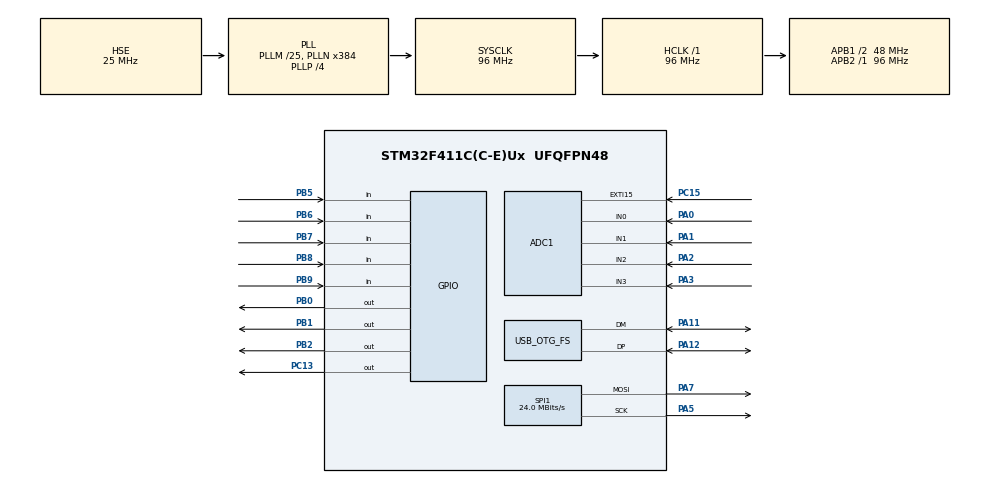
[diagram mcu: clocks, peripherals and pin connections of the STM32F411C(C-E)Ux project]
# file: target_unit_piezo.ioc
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ADC1.Channel-0\#ChannelRegularConversion=ADC_CHANNEL_0
ADC1.Channel-1\#ChannelRegularConversion=ADC_CHANNEL_1
ADC1.Channel-2\#ChannelRegularConversion=ADC_CHANNEL_2
ADC1.Channel-3\#ChannelRegularConversion=ADC_CHANNEL_3
ADC1.ContinuousConvMode=DISABLE
ADC1.DMAContinuousRequests=ENABLE
ADC1.DiscontinuousConvMode=ENABLE
ADC1.EOCSelection=ADC_EOC_SINGLE_CONV
ADC1.EnableAnalogWatchDog=true
ADC1.ExternalTrigConv=ADC_EXTERNALTRIGCONV_T2_TRGO
ADC1.HighThreshold=2048+THRESHOLD
ADC1.ITMode=ENABLE
ADC1.InjNumberOfConversion=0
ADC1.LowThreshold=2048-THRESHOLD
ADC1.NbrOfConversion=4
ADC1.NbrOfConversionFlag=1
ADC1.Rank-0\#ChannelRegularConversion=1
ADC1.Rank-1\#ChannelRegularConversion=2
ADC1.Rank-2\#ChannelRegularConversion=3
ADC1.Rank-3\#ChannelRegularConversion=4
ADC1.SamplingTime-0\#ChannelRegularConversion=ADC_SAMPLETIME_3CYCLES
ADC1.SamplingTime-1\#ChannelRegularConversion=ADC_SAMPLETIME_3CYCLES
ADC1.SamplingTime-2\#ChannelRegularConversion=ADC_SAMPLETIME_3CYCLES
ADC1.SamplingTime-3\#ChannelRegularConversion=ADC_SAMPLETIME_3CYCLES
ADC1.WatchdogMode=ADC_ANALOGWATCHDOG_ALL_REG
ADC1.master=1
Dma.ADC1.0.Direction=DMA_PERIPH_TO_MEMORY
Dma.ADC1.0.FIFOMode=DMA_FIFOMODE_DISABLE
Dma.ADC1.0.Instance=DMA2_Stream0
Dma.ADC1.0.MemDataAlignment=DMA_MDATAALIGN_HALFWORD
Dma.ADC1.0.MemInc=DMA_MINC_ENABLE
Dma.ADC1.0.Mode=DMA_CIRCULAR
Dma.ADC1.0.PeriphDataAlignment=DMA_PDATAALIGN_HALFWORD
Dma.ADC1.0.PeriphInc=DMA_PINC_DISABLE
Dma.ADC1.0.Priority=DMA_PRIORITY_VERY_HIGH
Dma.Request0=ADC1
Mcu.Family=STM32F4
Mcu.Name=STM32F411C(C-E)Ux
Mcu.Package=UFQFPN48
NVIC.ADC_IRQn=true\:0\:0\:false\:false\:true\:true\:true\:true
NVIC.DMA2_Stream0_IRQn=true\:0\:0\:false\:false\:true\:false\:true\:true
NVIC.OTG_FS_IRQn=true\:0\:0\:false\:false\:true\:false\:true\:true
NVIC.PriorityGroup=NVIC_PRIORITYGROUP_4
NVIC.TIM3_IRQn=true\:0\:0\:false\:false\:true\:true\:true\:true
PA0-WKUP.Signal=ADCx_IN0
PA1.Signal=ADCx_IN1
PA11.Mode=Device_Only
PA11.Signal=USB_OTG_FS_DM
PA12.Mode=Device_Only
PA12.Signal=USB_OTG_FS_DP
PA2.Signal=ADCx_IN2
PA3.Signal=ADCx_IN3
PA5.GPIO_PuPd=GPIO_PULLDOWN
PA5.Mode=TX_Only_Simplex_Unidirect_Master
PA5.Signal=SPI1_SCK
PA7.GPIO_PuPd=GPIO_NOPULL
PA7.Mode=TX_Only_Simplex_Unidirect_Master
PA7.Signal=SPI1_MOSI
PB0.GPIO_PuPd=GPIO_PULLUP
PB0.GPIO_Speed=GPIO_SPEED_FREQ_VERY_HIGH
PB0.PinState=GPIO_PIN_SET
PB0.Signal=GPIO_Output
PB1.GPIO_PuPd=GPIO_PULLUP
PB1.GPIO_Speed=GPIO_SPEED_FREQ_VERY_HIGH
PB1.PinState=GPIO_PIN_SET
PB1.Signal=GPIO_Output
PB2.GPIO_PuPd=GPIO_PULLUP
PB2.GPIO_Speed=GPIO_SPEED_FREQ_VERY_HIGH
PB2.PinState=GPIO_PIN_SET
PB2.Signal=GPIO_Output
PB5.Signal=GPIO_Input
PB6.Signal=GPIO_Input
PB7.Signal=GPIO_Input
PB8.Signal=GPIO_Input
PB9.Signal=GPIO_Input
PC13-ANTI_TAMP.Signal=GPIO_Output
PC15-OSC32_OUT.Signal=GPXTI15
PH0\ -\ OSC_IN.Mode=HSE-External-Oscillator
PH0\ -\ OSC_IN.Signal=RCC_OSC_IN
PH1\ -\ OSC_OUT.Mode=HSE-External-Oscillator
PH1\ -\ OSC_OUT.Signal=RCC_OSC_OUT
ProjectManager.HeapSize=0x200
ProjectManager.StackSize=0x400
ProjectManager.TargetToolchain=STM32CubeIDE
RCC.48MHZClocksFreq_Value=48000000
RCC.AHBFreq_Value=96000000
RCC.APB1CLKDivider=RCC_HCLK_DIV2
RCC.APB1Freq_Value=48000000
RCC.APB1TimFreq_Value=96000000
RCC.APB2Freq_Value=96000000
RCC.APB2TimFreq_Value=96000000
RCC.CortexFreq_Value=96000000
RCC.HCLKFreq_Value=96000000
RCC.HSE_VALUE=25000000
RCC.HSI_VALUE=16000000
RCC.LSE_VALUE=32768
RCC.PLLI2SM=25
RCC.PLLM=25
RCC.PLLN=384
RCC.PLLP=RCC_PLLP_DIV4
RCC.PLLQ=8
RCC.RCC_RTC_Clock_Source=RCC_RTCCLKSOURCE_LSI
RCC.RCC_RTC_Clock_SourceVirtual=RCC_RTCCLKSOURCE_LSI
RCC.SYSCLKFreq_VALUE=96000000
RCC.SYSCLKSource=RCC_SYSCLKSOURCE_PLLCLK
RCC.VCOOutputFreq_Value=384000000
SH.ADCx_IN0.0=ADC1_IN0,IN0
SH.ADCx_IN1.0=ADC1_IN1,IN1
SH.ADCx_IN2.0=ADC1_IN2,IN2
SH.ADCx_IN3.0=ADC1_IN3,IN3
SPI1.BaudRatePrescaler=SPI_BAUDRATEPRESCALER_4
SPI1.CLKPolarity=SPI_POLARITY_LOW
SPI1.CalculateBaudRate=24.0 MBits/s
SPI1.Direction=SPI_DIRECTION_2LINES
SPI1.Mode=SPI_MODE_MASTER
SPI1.VirtualType=VM_MASTER
TIM2.Channel-Output\ Compare1\ No\ Output=TIM_CHANNEL_1
TIM2.Period=SAMPLE_PERIOD-1
TIM2.TIM_MasterOutputTrigger=TIM_TRGO_UPDATE
TIM3.Period=SAMPLE_N/2
TIM3.Prescaler=SAMPLE_PERIOD-1
TIM3.TIM_MasterOutputTrigger=TIM_TRGO_UPDATE
TIM3.TIM_MasterSlaveMode=TIM_MASTERSLAVEMODE_DISABLE
TIM5.Prescaler=95
USB_DEVICE.CLASS_NAME_FS=CDC
USB_DEVICE.VirtualMode=Cdc
USB_DEVICE.VirtualModeFS=Cdc_FS
USB_OTG_FS.VirtualMode=Device_Only
VP_TIM2_VS_ClockSourceINT.Mode=Internal
VP_TIM2_VS_no_output1.Mode=Output Compare1 No Output
VP_TIM3_VS_ClockSourceINT.Mode=Internal
VP_TIM5_VS_ClockSourceINT.Mode=Internal
VP_USB_DEVICE_VS_USB_DEVICE_CDC_FS.Mode=CDC_FS
board=custom

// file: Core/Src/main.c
/* USER CODE BEGIN Header */
/**
  ******************************************************************************
  * @file           : main.c
  * @brief          : Main program body
  ******************************************************************************
  * @attention
  *
  * Copyright (c) 2023 STMicroelectronics.
  * All rights reserved.
  *
  * This software is licensed under terms that can be found in the LICENSE file
  * in the root directory of this software component.
  * If no LICENSE file comes with this software, it is provided AS-IS.
  *
  ******************************************************************************
  */
/* USER CODE END Header */
#include "main.h"
#include "usb_device.h"

/* USER CODE BEGIN Includes */
#define ADC4_SAMPLINGTIME_COMMON_1 LL_ADC_SAMPLINGTIME_COMMON_1
#define ADC4_SAMPLINGTIME_COMMON_2 LL_ADC_SAMPLINGTIME_COMMON_2
#define ADC4_SAMPLINGTIME_COMMON_1 LL_ADC_SAMPLINGTIME_COMMON_1
#define ADC4_SAMPLINGTIME_COMMON_2 LL_ADC_SAMPLINGTIME_COMMON_2
//#include "ssd1306.h"
#include "usbd_cdc_if.h"
#include "string.h"
#include "envelope_xcorr_gen.h"
#include "envelope_xcorr_gen_terminate.h"
#include "rt_nonfinite.h"
#include "ui.h"
#include "st7789.h"
#include <math.h>
#include <complex.h>								//it has to be done...
/* USER CODE END Includes */

/* USER CODE BEGIN PD */

//#define TEST_VER

#define THRESHOLD 400
#define SAMPLE_N 1024
#define SAMPLE_PERIOD 60
#define RESULT_BUFFER_LEN 100
#define RESULT_BUFFER_SEGMENT 10

#define B_UP 1
#define B_DOWN 2
#define B_LEFT 3
#define B_RIGHT 4
#define B_MIDDLE 5
//#define H_RANGE 2200
//#define L_RANGE 1800
/* USER CODE END PD */

ADC_HandleTypeDef hadc1;
DMA_HandleTypeDef hdma_adc1;

SPI_HandleTypeDef hspi1;

TIM_HandleTypeDef htim2;
TIM_HandleTypeDef htim3;
TIM_HandleTypeDef htim5;

/* USER CODE BEGIN PV */
uint32_t status=0,pos,pos_debug,tik,tok,startup=0;
uint32_t state = 0,tmp = 0;
uint32_t debug = 0, debug1 = 0;
char text_buffer[64];
float s1[SAMPLE_N/4],s2[SAMPLE_N/4];
float hit[2] = {0};
double delta1 = 0, delta2 = 0;
uint16_t data[8];
uint16_t data1[SAMPLE_N];		// ADC output buffer
//result variables
uint8_t score_res[RESULT_BUFFER_LEN+10] = {0},res_pos = 0,part_res = 0;
float results_x[RESULT_BUFFER_LEN+10] = {0},results_y[RESULT_BUFFER_LEN+10] = {0};

struct settings
{
	float offsetx, offsety, speedx, speedy;
	uint8_t debug, start, normalize;

};

struct settings set = {-0.0024,-0.00225,1005,994,0,0,0};
;
target_def tg1 = {20,20,10};

extern float ts1[];
extern float ts2[];

/* USER CODE END PV */

void SystemClock_Config(void);
static void MX_GPIO_Init(void);
static void MX_DMA_Init(void);
static void MX_ADC1_Init(void);
static void MX_TIM2_Init(void);
static void MX_TIM3_Init(void);
static void MX_SPI1_Init(void);
static void MX_TIM5_Init(void);
/* USER CODE BEGIN PFP */
void print_array(uint16_t *arr1,uint16_t size,uint32_t start_pos, uint8_t type);
void Reset_ADC();
void AWD_Interrupt();
void TIM3_interrupt();
void Read_channel(uint16_t *source, float *target, uint32_t source_size, uint32_t target_size, uint32_t start_pos, uint32_t channel);
uint8_t ConvertCoordinates(float* coords, float diffx, float diffy, float speed, float xoffset, float yoffset, float target_size);
void Abs_maxScale(float* target, uint32_t size, uint32_t new_max);
void Offset_remove(float* target, uint32_t size);
uint8_t Check_buttons();
void Debug_screen();
uint8_t Convert_to_score(float hitx, float hity, float proj_diammeter, target_def tg);
void Draw_All();
/* USER CODE END PFP */

int main(void)
{

  /* MCU Configuration--------------------------------------------------------*/

  /* Reset of all peripherals, Initializes the Flash interface and the Systick. */
  HAL_Init();

  /* Configure the system clock */
  SystemClock_Config();

  /* Initialize all configured peripherals */
  MX_GPIO_Init();
  MX_DMA_Init();
  MX_USB_DEVICE_Init();
  MX_ADC1_Init();
  MX_TIM2_Init();
  MX_TIM3_Init();
  MX_SPI1_Init();
  MX_TIM5_Init();
  /* USER CODE BEGIN 2 */
  ST7789_Init();
  ST7789_InvertColors(0);
  HAL_ADC_Start_DMA(&hadc1, &data1, SAMPLE_N);
  HAL_TIM_Base_Start(&htim5);
  ADC1->CR1 &= ~ADC_CR1_AWDEN;
  ADC1->CR1 &= ~ADC_CR1_AWDIE;

  HAL_TIM_Base_Start(&htim2);
  HAL_Delay(500);
  ADC1->SR &= ~ADC_SR_AWD;
  ADC1->CR1 |= ADC_CR1_AWDEN;
  ADC1->CR1 |= ADC_CR1_AWDIE;
  TIM3->CR1 &= ~TIM_CR1_CEN;

  TIM3->DIER |= TIM_DIER_UIE;
  GPIOC->ODR |= GPIO_ODR_OD13;

/*
  for(int i = 0; i < 25; i++)
  {
	  res_pos++;
	  score_res[i] = i;
  }
*/
  if(set.debug == 0)
  {
	  Draw_All();
  }
  /* USER CODE END 2 */

  /* Infinite loop */
  while (1)
  {

    /* USER CODE BEGIN 3 */

	  //sprintf(text_buffer,"channel 1: %04d",data1[0]);
	  //ST7789_WriteString(10, 50, text_buffer, Font_7x10, RED, BLACK);
	  //ST7789_Test();
#ifdef TEST_VER

	  tik = TIM5->CNT;
	  float delta = envelope_xcorr_gen(ts1, ts2, SAMPLE_N/4, 400000, 4, 200, 400);
	  tok = TIM5->CNT;
	  ConvertCoordinates(hit, delta/2, delta/2, 994, -0.003749, 0, 0.385);
	  //Draw_targetElement(10, 20, 200, WHITE,RED, BLACK,1,hit[0]/0.15,hit[1]/0.15);
	  Draw_def_targetElement(10, 20, 200,  WHITE,RED, BLACK, tg1);
	  Draw_hit(10, 20, 200, WHITE ,RED, 100, 50, tg1);
	  sprintf(text_buffer,"delta: %.2f us",delta*1000000);
	  ST7789_WriteString(200, 20, text_buffer, Font_7x10, WHITE, BLACK);
	  sprintf(text_buffer,"time: %04ld us",tok-tik);
	  ST7789_WriteString(200, 30, text_buffer, Font_7x10, WHITE, BLACK);
	  sprintf(text_buffer,"x=: %3.1f mm",hit[0]*1000);
	  ST7789_WriteString(200, 40, text_buffer, Font_7x10, WHITE, BLACK);
	  sprintf(text_buffer,"y=: %3.1f mm",hit[1]*100);
	  ST7789_WriteString(200, 50, text_buffer, Font_7x10, WHITE, BLACK);
	  HAL_Delay(2000);

#endif

#ifndef TEST_VER
	  switch(state)
	  {
	  	  case 1:							//aktivace TIM3 interruptu
	  		HAL_GPIO_WritePin(GPIOC, GPIO_PIN_13, GPIO_PIN_RESET);
	  		HAL_Delay(500);
	  		HAL_GPIO_WritePin(GPIOC, GPIO_PIN_13, GPIO_PIN_SET);
	  		HAL_Delay(500);
	  		HAL_GPIO_WritePin(GPIOC, GPIO_PIN_13, GPIO_PIN_RESET);
	  		tik = TIM5->CNT;
	  		Read_channel((uint16_t*) data1, s1, SAMPLE_N, SAMPLE_N/4, ((pos-pos%4)-SAMPLE_N/8)%SAMPLE_N, 0);
	  		Read_channel((uint16_t*) data1, s2, SAMPLE_N, SAMPLE_N/4, ((pos-pos%4)-SAMPLE_N/8)%SAMPLE_N, 1);
	  		if(set.normalize)
	  		{
	  			Offset_remove(s1, SAMPLE_N/4);
	  			Offset_remove(s2, SAMPLE_N/4);
	  			Abs_maxScale(s1, SAMPLE_N/4, 2000);
	  			Abs_maxScale(s2, SAMPLE_N/4, 2000);
	  		}
	  		delta1 = envelope_xcorr_gen(s1, s2, SAMPLE_N/4, 400000, 4, 200, 400);
	  		Read_channel((uint16_t*) data1, s1, SAMPLE_N, SAMPLE_N/4, ((pos-pos%4)-SAMPLE_N/8)%SAMPLE_N, 2);
	  		Read_channel((uint16_t*) data1, s2, SAMPLE_N, SAMPLE_N/4, ((pos-pos%4)-SAMPLE_N/8)%SAMPLE_N, 3);
	  		if(set.normalize)
	  		{
	  			Offset_remove(s1, SAMPLE_N/4);
	  			Offset_remove(s2, SAMPLE_N/4);
	  			Abs_maxScale(s1, SAMPLE_N/4, 2000);
	  			Abs_maxScale(s2, SAMPLE_N/4, 2000);
	  		}
	  		delta2 = envelope_xcorr_gen(s1, s2, SAMPLE_N/4, 400000, 4, 200, 400);
	  		tok = TIM5->CNT;
	  		tmp = ConvertCoordinates(hit, delta1, delta2, set.speedx, set.offsetx,set. offsety, 0.385);
	  		if(tmp == 1)
	  		{
	  			HAL_GPIO_WritePin(GPIOC, GPIO_PIN_13, GPIO_PIN_RESET);
	  			HAL_Delay(2000);
	  			Reset_ADC();
	  			HAL_GPIO_WritePin(GPIOC, GPIO_PIN_13, GPIO_PIN_SET);
	  			TIM2->CR1 |= TIM_CR1_CEN;
	  			state = 0;
	  			break;
	  		}
	  		results_x[res_pos] = hit[0];
	  		results_y[res_pos] = hit[1];
	  		score_res[res_pos] = Convert_to_score(hit[0], hit[1], 3, tg1);

	  		if(res_pos < part_res*RESULT_BUFFER_SEGMENT || res_pos > (part_res+1)*RESULT_BUFFER_SEGMENT)
	  		{
	  			part_res = res_pos/RESULT_BUFFER_SEGMENT;
	  		}
	  		if(res_pos >= RESULT_BUFFER_LEN)
	  		{
	  			for(int i = 0; i<RESULT_BUFFER_LEN;i++)
	  			{
	  				results_x[i] = 0;
	  				results_x[i] = 0;
	  				score_res[i] = 0;
	  				part_res = 0;

	  			}
	  		}
	  		//Draw_targetElement(10, 20, 200, WHITE,RED, BLACK,1,hit[0]/0.15,hit[1]/0.15);
	  		Draw_def_targetElement(10, 20, 200,  WHITE,RED, BLACK, tg1);
	  		res_pos++;
	  		if(set.debug)
	  		{
	  			Debug_screen();
			}
	  		else
			{
	  			Draw_All();
			}

	  		HAL_GPIO_WritePin(GPIOC, GPIO_PIN_13, GPIO_PIN_RESET);
	  		HAL_Delay(1000);
	  		Reset_ADC();
	  		HAL_GPIO_WritePin(GPIOC, GPIO_PIN_13, GPIO_PIN_SET);
	  		TIM2->CR1 |= TIM_CR1_CEN;												//Timer 2 enabled, sampling continues
	  		state = 0;
	  	  default:
	  		  break;
	  }
	  if(Check_buttons()==B_UP)
	  {
		  part_res=(part_res+1);
		  if(part_res > 10){part_res = 0;}
		  Draw_All();
	  }
	  if(Check_buttons()==B_DOWN)
	  {
		  part_res=(part_res-1);
		  if(part_res > 10){part_res = 10;}
		  Draw_All();
	  }
#endif

	  /*
	  if(GPIOB->IDR & 0b1)
	  {
		  tmp = 1;
		  TIM2->CR1 &= !TIM_CR1_CEN;				//Timer2 enable bit set to zero.Timer 2 is disabled.
		  print_array(&data1, SAMPLE_N,0);
		  HAL_Delay(10000);
	  }else{
		  tmp = 0;
		  TIM2->CR1 |= TIM_CR1_CEN;					//Timer 2 enable bit set to one.Timer 2 is enabled.
	  }

	  debug[pos_debug%50] = DMA2_Stream0->NDTR;
	  pos_debug++;
	  */

	  /*alternative if statement
	  data1[DMA2_Stream0->NDTR] > H_RANGE || data1[DMA2_Stream0->NDTR] < L_RANGE || GPIOB->IDR & 0b1

	   */

	  // following code should be handled mostly in interrupts and is unusable for higher ADC speeds
	  /*
	  }
		*/

  }
  /* USER CODE END 3 */
}

void SystemClock_Config(void)
{
  RCC_OscInitTypeDef RCC_OscInitStruct = {0};
  RCC_ClkInitTypeDef RCC_ClkInitStruct = {0};

  /** Configure the main internal regulator output voltage
  */
  __HAL_RCC_PWR_CLK_ENABLE();
  __HAL_PWR_VOLTAGESCALING_CONFIG(PWR_REGULATOR_VOLTAGE_SCALE1);

  /** Initializes the RCC Oscillators according to the specified parameters
  * in the RCC_OscInitTypeDef structure.
  */
  RCC_OscInitStruct.OscillatorType = RCC_OSCILLATORTYPE_HSE;
  RCC_OscInitStruct.HSEState = RCC_HSE_ON;
  RCC_OscInitStruct.PLL.PLLState = RCC_PLL_ON;
  RCC_OscInitStruct.PLL.PLLSource = RCC_PLLSOURCE_HSE;
  RCC_OscInitStruct.PLL.PLLM = 25;
  RCC_OscInitStruct.PLL.PLLN = 384;
  RCC_OscInitStruct.PLL.PLLP = RCC_PLLP_DIV4;
  RCC_OscInitStruct.PLL.PLLQ = 8;
  if (HAL_RCC_OscConfig(&RCC_OscInitStruct) != HAL_OK)
  {
    Error_Handler();
  }

  /** Initializes the CPU, AHB and APB buses clocks
  */
  RCC_ClkInitStruct.ClockType = RCC_CLOCKTYPE_HCLK|RCC_CLOCKTYPE_SYSCLK
                              |RCC_CLOCKTYPE_PCLK1|RCC_CLOCKTYPE_PCLK2;
  RCC_ClkInitStruct.SYSCLKSource = RCC_SYSCLKSOURCE_PLLCLK;
  RCC_ClkInitStruct.AHBCLKDivider = RCC_SYSCLK_DIV1;
  RCC_ClkInitStruct.APB1CLKDivider = RCC_HCLK_DIV2;
  RCC_ClkInitStruct.APB2CLKDivider = RCC_HCLK_DIV1;

  if (HAL_RCC_ClockConfig(&RCC_ClkInitStruct, FLASH_LATENCY_3) != HAL_OK)
  {
    Error_Handler();
  }
}

static void MX_ADC1_Init(void)
{

  ADC_AnalogWDGConfTypeDef AnalogWDGConfig = {0};
  ADC_ChannelConfTypeDef sConfig = {0};

  /** Configure the global features of the ADC (Clock, Resolution, Data Alignment and number of conversion)
  */
  hadc1.Instance = ADC1;
  hadc1.Init.ClockPrescaler = ADC_CLOCK_SYNC_PCLK_DIV4;
  hadc1.Init.Resolution = ADC_RESOLUTION_12B;
  hadc1.Init.ScanConvMode = ENABLE;
  hadc1.Init.ContinuousConvMode = DISABLE;
  hadc1.Init.DiscontinuousConvMode = ENABLE;
  hadc1.Init.NbrOfDiscConversion = 1;
  hadc1.Init.ExternalTrigConvEdge = ADC_EXTERNALTRIGCONVEDGE_RISING;
  hadc1.Init.ExternalTrigConv = ADC_EXTERNALTRIGCONV_T2_TRGO;
  hadc1.Init.DataAlign = ADC_DATAALIGN_RIGHT;
  hadc1.Init.NbrOfConversion = 4;
  hadc1.Init.DMAContinuousRequests = ENABLE;
  hadc1.Init.EOCSelection = ADC_EOC_SINGLE_CONV;
  if (HAL_ADC_Init(&hadc1) != HAL_OK)
  {
    Error_Handler();
  }

  /** Configure the analog watchdog
  */
  AnalogWDGConfig.WatchdogMode = ADC_ANALOGWATCHDOG_ALL_REG;
  AnalogWDGConfig.HighThreshold = 2048+THRESHOLD;
  AnalogWDGConfig.LowThreshold = 2048-THRESHOLD;
  AnalogWDGConfig.ITMode = ENABLE;
  if (HAL_ADC_AnalogWDGConfig(&hadc1, &AnalogWDGConfig) != HAL_OK)
  {
    Error_Handler();
  }

  /** Configure for the selected ADC regular channel its corresponding rank in the sequencer and its sample time.
  */
  sConfig.Channel = ADC_CHANNEL_0;
  sConfig.Rank = 1;
  sConfig.SamplingTime = ADC_SAMPLETIME_3CYCLES;
  if (HAL_ADC_ConfigChannel(&hadc1, &sConfig) != HAL_OK)
  {
    Error_Handler();
  }

  /** Configure for the selected ADC regular channel its corresponding rank in the sequencer and its sample time.
  */
  sConfig.Channel = ADC_CHANNEL_1;
  sConfig.Rank = 2;
  if (HAL_ADC_ConfigChannel(&hadc1, &sConfig) != HAL_OK)
  {
    Error_Handler();
  }

  /** Configure for the selected ADC regular channel its corresponding rank in the sequencer and its sample time.
  */
  sConfig.Channel = ADC_CHANNEL_2;
  sConfig.Rank = 3;
  if (HAL_ADC_ConfigChannel(&hadc1, &sConfig) != HAL_OK)
  {
    Error_Handler();
  }

  /** Configure for the selected ADC regular channel its corresponding rank in the sequencer and its sample time.
  */
  sConfig.Channel = ADC_CHANNEL_3;
  sConfig.Rank = 4;
  if (HAL_ADC_ConfigChannel(&hadc1, &sConfig) != HAL_OK)
  {
    Error_Handler();
  }

}

static void MX_SPI1_Init(void)
{

  /* SPI1 parameter configuration*/
  hspi1.Instance = SPI1;
  hspi1.Init.Mode = SPI_MODE_MASTER;
  hspi1.Init.Direction = SPI_DIRECTION_2LINES;
  hspi1.Init.DataSize = SPI_DATASIZE_8BIT;
  hspi1.Init.CLKPolarity = SPI_POLARITY_LOW;
  hspi1.Init.CLKPhase = SPI_PHASE_1EDGE;
  hspi1.Init.NSS = SPI_NSS_SOFT;
  hspi1.Init.BaudRatePrescaler = SPI_BAUDRATEPRESCALER_4;
  hspi1.Init.FirstBit = SPI_FIRSTBIT_MSB;
  hspi1.Init.TIMode = SPI_TIMODE_DISABLE;
  hspi1.Init.CRCCalculation = SPI_CRCCALCULATION_DISABLE;
  hspi1.Init.CRCPolynomial = 10;
  if (HAL_SPI_Init(&hspi1) != HAL_OK)
  {
    Error_Handler();
  }

}

static void MX_TIM2_Init(void)
{

  TIM_ClockConfigTypeDef sClockSourceConfig = {0};
  TIM_MasterConfigTypeDef sMasterConfig = {0};
  TIM_OC_InitTypeDef sConfigOC = {0};

  htim2.Instance = TIM2;
  htim2.Init.Prescaler = 0;
  htim2.Init.CounterMode = TIM_COUNTERMODE_UP;
  htim2.Init.Period = SAMPLE_PERIOD-1;
  htim2.Init.ClockDivision = TIM_CLOCKDIVISION_DIV1;
  htim2.Init.AutoReloadPreload = TIM_AUTORELOAD_PRELOAD_DISABLE;
  if (HAL_TIM_Base_Init(&htim2) != HAL_OK)
  {
    Error_Handler();
  }
  sClockSourceConfig.ClockSource = TIM_CLOCKSOURCE_INTERNAL;
  if (HAL_TIM_ConfigClockSource(&htim2, &sClockSourceConfig) != HAL_OK)
  {
    Error_Handler();
  }
  if (HAL_TIM_OC_Init(&htim2) != HAL_OK)
  {
    Error_Handler();
  }
  sMasterConfig.MasterOutputTrigger = TIM_TRGO_UPDATE;
  sMasterConfig.MasterSlaveMode = TIM_MASTERSLAVEMODE_DISABLE;
  if (HAL_TIMEx_MasterConfigSynchronization(&htim2, &sMasterConfig) != HAL_OK)
  {
    Error_Handler();
  }
  sConfigOC.OCMode = TIM_OCMODE_TIMING;
  sConfigOC.Pulse = 0;
  sConfigOC.OCPolarity = TIM_OCPOLARITY_HIGH;
  sConfigOC.OCFastMode = TIM_OCFAST_DISABLE;
  if (HAL_TIM_OC_ConfigChannel(&htim2, &sConfigOC, TIM_CHANNEL_1) != HAL_OK)
  {
    Error_Handler();
  }

}

static void MX_TIM3_Init(void)
{

  TIM_ClockConfigTypeDef sClockSourceConfig = {0};
  TIM_MasterConfigTypeDef sMasterConfig = {0};

  htim3.Instance = TIM3;
  htim3.Init.Prescaler = SAMPLE_PERIOD-1;
  htim3.Init.CounterMode = TIM_COUNTERMODE_UP;
  htim3.Init.Period = SAMPLE_N/2;
  htim3.Init.ClockDivision = TIM_CLOCKDIVISION_DIV1;
  htim3.Init.AutoReloadPreload = TIM_AUTORELOAD_PRELOAD_DISABLE;
  if (HAL_TIM_Base_Init(&htim3) != HAL_OK)
  {
    Error_Handler();
  }
  sClockSourceConfig.ClockSource = TIM_CLOCKSOURCE_INTERNAL;
  if (HAL_TIM_ConfigClockSource(&htim3, &sClockSourceConfig) != HAL_OK)
  {
    Error_Handler();
  }
  sMasterConfig.MasterOutputTrigger = TIM_TRGO_UPDATE;
  sMasterConfig.MasterSlaveMode = TIM_MASTERSLAVEMODE_DISABLE;
  if (HAL_TIMEx_MasterConfigSynchronization(&htim3, &sMasterConfig) != HAL_OK)
  {
    Error_Handler();
  }

}

static void MX_TIM5_Init(void)
{

  TIM_ClockConfigTypeDef sClockSourceConfig = {0};
  TIM_MasterConfigTypeDef sMasterConfig = {0};

  htim5.Instance = TIM5;
  htim5.Init.Prescaler = 95;
  htim5.Init.CounterMode = TIM_COUNTERMODE_UP;
  htim5.Init.Period = 4294967295;
  htim5.Init.ClockDivision = TIM_CLOCKDIVISION_DIV1;
  htim5.Init.AutoReloadPreload = TIM_AUTORELOAD_PRELOAD_DISABLE;
  if (HAL_TIM_Base_Init(&htim5) != HAL_OK)
  {
    Error_Handler();
  }
  sClockSourceConfig.ClockSource = TIM_CLOCKSOURCE_INTERNAL;
  if (HAL_TIM_ConfigClockSource(&htim5, &sClockSourceConfig) != HAL_OK)
  {
    Error_Handler();
  }
  sMasterConfig.MasterOutputTrigger = TIM_TRGO_RESET;
  sMasterConfig.MasterSlaveMode = TIM_MASTERSLAVEMODE_DISABLE;
  if (HAL_TIMEx_MasterConfigSynchronization(&htim5, &sMasterConfig) != HAL_OK)
  {
    Error_Handler();
  }

}

static void MX_DMA_Init(void)
{

  /* DMA controller clock enable */
  __HAL_RCC_DMA2_CLK_ENABLE();

  /* DMA interrupt init */
  /* DMA2_Stream0_IRQn interrupt configuration */
  HAL_NVIC_SetPriority(DMA2_Stream0_IRQn, 0, 0);
  HAL_NVIC_EnableIRQ(DMA2_Stream0_IRQn);

}

static void MX_GPIO_Init(void)
{
  GPIO_InitTypeDef GPIO_InitStruct = {0};

  /* GPIO Ports Clock Enable */
  __HAL_RCC_GPIOC_CLK_ENABLE();
  __HAL_RCC_GPIOH_CLK_ENABLE();
  __HAL_RCC_GPIOA_CLK_ENABLE();
  __HAL_RCC_GPIOB_CLK_ENABLE();

  /*Configure GPIO pin Output Level */
  HAL_GPIO_WritePin(GPIOC, GPIO_PIN_13, GPIO_PIN_RESET);

  /*Configure GPIO pin Output Level */
  HAL_GPIO_WritePin(GPIOB, GPIO_PIN_0|GPIO_PIN_1|GPIO_PIN_2, GPIO_PIN_SET);

  /*Configure GPIO pin : PC13 */
  GPIO_InitStruct.Pin = GPIO_PIN_13;
  GPIO_InitStruct.Mode = GPIO_MODE_OUTPUT_PP;
  GPIO_InitStruct.Pull = GPIO_NOPULL;
  GPIO_InitStruct.Speed = GPIO_SPEED_FREQ_LOW;
  HAL_GPIO_Init(GPIOC, &GPIO_InitStruct);

  /*Configure GPIO pin : PC15 */
  GPIO_InitStruct.Pin = GPIO_PIN_15;
  GPIO_InitStruct.Mode = GPIO_MODE_IT_RISING;
  GPIO_InitStruct.Pull = GPIO_NOPULL;
  HAL_GPIO_Init(GPIOC, &GPIO_InitStruct);

  /*Configure GPIO pins : PB0 PB1 PB2 */
  GPIO_InitStruct.Pin = GPIO_PIN_0|GPIO_PIN_1|GPIO_PIN_2;
  GPIO_InitStruct.Mode = GPIO_MODE_OUTPUT_PP;
  GPIO_InitStruct.Pull = GPIO_PULLUP;
  GPIO_InitStruct.Speed = GPIO_SPEED_FREQ_VERY_HIGH;
  HAL_GPIO_Init(GPIOB, &GPIO_InitStruct);

  /*Configure GPIO pins : PB5 PB6 PB7 PB8
                           PB9 */
  GPIO_InitStruct.Pin = GPIO_PIN_5|GPIO_PIN_6|GPIO_PIN_7|GPIO_PIN_8
                          |GPIO_PIN_9;
  GPIO_InitStruct.Mode = GPIO_MODE_INPUT;
  GPIO_InitStruct.Pull = GPIO_NOPULL;
  HAL_GPIO_Init(GPIOB, &GPIO_InitStruct);

}

/* USER CODE BEGIN 4 */
void print_array(uint16_t *arr1,uint16_t size,uint32_t start_pos, uint8_t type){

	uint8_t xd;
	uint16_t i;
	char print_buffer[50];
	uint32_t buffer[4];

	if(type == 0)
	{
	xd = sprintf(print_buffer,"start:\n\n\r");
	CDC_Transmit_FS((uint8_t*)print_buffer,xd);

	for(i = 0;i < size;i+=4){
		xd = sprintf(print_buffer,"%04d %04d %04d %04d; ",arr1[(start_pos+i)%size],arr1[(start_pos+i+1)%size],arr1[(start_pos+i+2)%size],arr1[(start_pos+i+3)%size]);     	//saving data to buffer in format: 0123 0123 0123 0123; 0123 ...
		CDC_Transmit_FS((uint8_t*)print_buffer,xd);																															//sending buffer
		HAL_Delay(1);
	}
	/*
	xd = sprintf(uart_buffer,"; ");
	CDC_Transmit_FS((uint8_t*)uart_buffer,xd);
	for(i=0;i<size;i++){
			xd = sprintf(uart_buffer,"%d ",arr2[(i+var)%size]);
			CDC_Transmit_FS((uint8_t*)uart_buffer,xd);
			HAL_Delay(1);
		}
	*/
	xd = sprintf(print_buffer,"\n end\n\r");
	CDC_Transmit_FS((uint8_t*)print_buffer,xd);
	}
	if(type == 1)
	{
	for(i = 0;i < size;i+=4)
		{

		buffer[0] = arr1[(start_pos+i)%size];
		buffer[1] = arr1[(start_pos+i+1)%size];
		buffer[2] = arr1[(start_pos+i+2)%size];
		buffer[3] = arr1[(start_pos+i+3)%size];
		CDC_Transmit_FS((uint8_t*)buffer,16);																															//sending buffer
		HAL_Delay(1);
		}
	}
	return;
}
void Read_channel(uint16_t *source, float *target, uint32_t source_size, uint32_t target_size, uint32_t start_pos, uint32_t channel)
{
	uint32_t chnl_cnt = source_size/target_size;
	for(int i = 0; i<target_size; i++)
	{
		target[i] = source[(start_pos+i*chnl_cnt+channel)%source_size];
	}
}

uint8_t ConvertCoordinates(float* coords, float diffx, float diffy, float speed, float xoffset, float yoffset, float target_size)
{
	//normalization to -2 to 2 scale and conversion to complex float
	double _Complex dx = ((diffx*speed+xoffset)*4)/target_size;
	double _Complex dy = ((diffy*speed+yoffset)*4)/target_size;
	if(fabsf(diffx*speed+xoffset) > target_size || fabsf(diffy*speed+yoffset) > target_size)
	{
		return 1;
	}

	double _Complex x = -1*_Complex_I*(dx*csqrt(dy*dy-4)*csqrt(dx*dx-dy*dy-4))/(4*csqrt(dx*dx+dy*dy-4));
	double _Complex y = -1*_Complex_I*(dy*csqrt(dx*dx-4)*csqrt(-dx*dx+dy*dy-4))/(4*csqrt(dx*dx+dy*dy-4));

	coords[0] = (float)creal(x)*target_size/2;
	coords[1] = (float)creal(y)*target_size/2;
	return 0;

}
void Abs_maxScale(float* target,uint32_t size, uint32_t new_max)
{
	uint32_t i;
	float max = 0;
	float scale_factor;
	for(i = 0; i < size; i++)
	{
		if(max < fabsf(target[i]))
		{
			max = fabsf(target[i]);
		}
	}
	if(max < new_max)
	{
		scale_factor = (float)new_max/max;
		for(i = 0; i < size; i++)
		{
			target[i] = target[i]*scale_factor;
		}
	}

}

void Offset_remove(float* target,uint32_t size)
{
	uint32_t i;
	float sum;
	float mean;
	for(i = 0; i < size; i++)
	{
		sum += target[i];
	}
	mean = sum/(float)size;
	for(i = 0; i < size; i++)
	{
		target[i] = target[i]-mean;
	}
}
void Debug_screen()
{
	Draw_def_targetElement(10, 20, 200,  WHITE,RED, BLACK, tg1);
	Draw_hit(10, 20, 200, WHITE ,RED, hit[0]*1000, hit[1]*1000, tg1);
	sprintf(text_buffer,"d1: %.2f us",delta1*1000000);
	ST7789_WriteString(220, 20, text_buffer, Font_7x10, WHITE, BLACK);
	sprintf(text_buffer,"d2: %.2f us",delta2*1000000);
	ST7789_WriteString(220, 30, text_buffer, Font_7x10, WHITE, BLACK);
	sprintf(text_buffer,"time: %03ld ms",(tok-tik)/1000);
	ST7789_WriteString(220, 40, text_buffer, Font_7x10, WHITE, BLACK);
	sprintf(text_buffer,"x=: %.1f mm",hit[0]*1000);
	ST7789_WriteString(220, 50, text_buffer, Font_7x10, WHITE, BLACK);
	sprintf(text_buffer,"y=: %.1f mm",hit[1]*1000);
	ST7789_WriteString(220, 60, text_buffer, Font_7x10, WHITE, BLACK);
	print_array((uint16_t*) data1,SAMPLE_N,((pos-pos%4)-SAMPLE_N/8)%SAMPLE_N,1);						//Print out whole ADC buffer to console pos - pos%4
}

void Draw_All()
{
	Draw_def_targetElement(10, 20, 200,  WHITE,RED, BLACK, tg1);
	Draw_resultTable(220, 10, 10, score_res, part_res, WHITE, BLACK);

	if(startup == 1){
		startup++;
	}else{
		if(res_pos < RESULT_BUFFER_SEGMENT*(part_res+1))
		{
			if(part_res == 0)
			{
				for(int i = RESULT_BUFFER_SEGMENT*(part_res);i<res_pos;i++)
				{
					Draw_hit(10, 20, 200, WHITE ,RED, results_x[i]*1000, results_y[i]*1000, tg1);
				}
			}
			else
			{
				for(int i = RESULT_BUFFER_SEGMENT*(part_res);i<=res_pos;i++)
				{
					Draw_hit(10, 20, 200, WHITE ,RED, results_x[i]*1000, results_y[i]*1000, tg1);
				}
			}
		}
		else
		{
			for(int i = RESULT_BUFFER_SEGMENT*part_res;i<RESULT_BUFFER_SEGMENT*(part_res+1);i++)
			{
				Draw_hit(10, 20, 200, WHITE ,RED, results_x[i]*1000, results_y[i]*1000, tg1);
			}
		}
	}
}
uint8_t Check_buttons()
{
	uint8_t on = GPIO_PIN_RESET;
	if(HAL_GPIO_ReadPin(GPIOB, GPIO_PIN_5) == on){return 1;}
	if(HAL_GPIO_ReadPin(GPIOB, GPIO_PIN_6) == on){return 2;}
	if(HAL_GPIO_ReadPin(GPIOB, GPIO_PIN_7) == on){return 3;}
	if(HAL_GPIO_ReadPin(GPIOB, GPIO_PIN_8) == on){return 4;}
	if(HAL_GPIO_ReadPin(GPIOB, GPIO_PIN_9) == on){return 5;}
	return 0;

}

uint8_t Convert_to_score(float hitx, float hity, float proj_diammeter, target_def tg)
{
	float r = sqrtf(hitx*hitx+hity*hity)*1000;
	if(r*2<tg.inner_circle_mm+proj_diammeter){return 10;}
	for(uint16_t i = 1;i < tg.circle_count-1;i++)
	{
		if(r*2<tg.inner_circle_mm+tg.circle_distance_mm*i+proj_diammeter)
		{
			return 10-i;
		}
	}
	return 0;
}

void AWD_Interrupt()
{

	pos = SAMPLE_N - DMA2_Stream0->NDTR;									//saving current ADC buffer position
	TIM3->CR1 |= TIM_CR1_CEN;												//enabling Timer 3, which will wait for SAMPLE_N/2 of samples to be measured before calling interrupt
	ADC1->CR1 &= ~ADC_CR1_AWDEN;
	ADC1->CR1 &= ~ADC_CR1_AWDIE;											//disable AWD interrupt mode !!!enable later!!!
	return;
}
void Reset_ADC()
{

	TIM2->CR1 &= ~TIM_CR1_CEN;												//Timer 2 is disabled.
	TIM3->CR1 &= ~TIM_CR1_CEN;												//Timer 3 is disabled.
	TIM3->CNT = 0;															//Resetting Timer 3 counter
	//TIM2->CR1 |= TIM_CR1_CEN;												//Timer 2 is enabled.
	//HAL_Delay(100);
	//TIM2->CR1 &= ~TIM_CR1_CEN;												//Timer 2 is disabled.
	ADC1->SR &= ~ADC_SR_AWD;
	ADC1->CR1 |= ADC_CR1_AWDEN;
	ADC1->CR1 |= ADC_CR1_AWDIE;											//enabling AWD interrupt mode !! MUST be done twice !!
	ADC1->CR1 |= ADC_CR1_AWDIE;
	return;
}

void TIM3_interrupt()
{
	TIM2->CR1 &= ~TIM_CR1_CEN;												//Timer 2 is disabled sampling stops
	TIM3->CR1 &= ~TIM_CR1_CEN;
	state = 1;
	return;
}
/* USER CODE END 4 */

void Error_Handler(void)
{
  __disable_irq();
  while (1)
  {
  }
}
